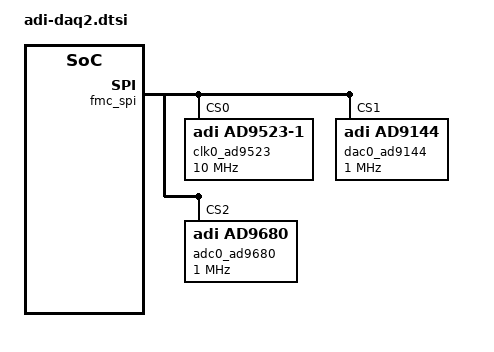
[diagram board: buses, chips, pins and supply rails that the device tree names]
/ {
	clocks {

	};
};

&fmc_spi {
	clk0_ad9523: ad9523-1@0 {
		#address-cells = <1>;
		#size-cells = <0>;
		#clock-cells = <1>;
		compatible = "adi,ad9523-1";
		reg = <0>;
		spi-cpol;
		spi-cpha;

		spi-max-frequency = <10000000>;
		clock-output-names = "ad9523-1_out0", "ad9523-1_out1", "ad9523-1_out2", "ad9523-1_out3", "ad9523-1_out4", "ad9523-1_out5", "ad9523-1_out6", "ad9523-1_out7", "ad9523-1_out8", "ad9523-1_out9", "ad9523-1_out10", "ad9523-1_out11", "ad9523-1_out12", "ad9523-1_out13";
		adi,vcxo-freq = <125000000>;
		adi,spi-3wire-enable;
		adi,pll1-bypass-enable;
		adi,osc-in-diff-enable;

		adi,pll2-charge-pump-current-nA = <413000>;
		adi,pll2-ndiv-a-cnt = <0>;
		adi,pll2-ndiv-b-cnt = <6>;

		adi,pll2-r2-div = <1>;
		adi,pll2-vco-diff-m1 = <3>;

		adi,rpole2 = <0>;
		adi,rzero = <7>;
		adi,cpole1 = <2>;

		ad9523_0_c1:channel@1 {
			reg = <1>;
			adi,extended-name = "DAC_CLK";
			adi,driver-mode = <3>;
			adi,divider-phase = <1>;
			adi,channel-divider = <1>;
//			adi,output-dis;
		};
		ad9523_0_c4:channel@4 {
			reg = <4>;
			adi,extended-name = "ADC_CLK_FMC";
			adi,driver-mode = <3>;
			adi,divider-phase = <1>;
			adi,channel-divider = <2>;
//			adi,output-dis;
		};

		ad9523_0_c5:channel@5 {
			reg = <5>;
			adi,extended-name = "ADC_SYSREF";
			adi,driver-mode = <3>;
			adi,divider-phase = <1>;
			adi,channel-divider = <128>;
//			adi,output-dis;
		};

		ad9523_0_c6:channel@6 {
			reg = <6>;
			adi,extended-name = "CLKD_ADC_SYSREF";
			adi,driver-mode = <3>;
			adi,divider-phase = <1>;
			adi,channel-divider = <128>;
//			adi,output-dis;
		};

		ad9523_0_c7:channel@7 {
			reg = <7>;
			adi,extended-name = "CLKD_DAC_SYSREF";
			adi,driver-mode = <3>;
			adi,divider-phase = <1>;
			adi,channel-divider = <128>;
//			adi,output-dis;
		};

		ad9523_0_c8:channel@8 {
			reg = <8>;
			adi,extended-name = "DAC_SYSREF";
			adi,driver-mode = <3>;
			adi,divider-phase = <1>;
			adi,channel-divider = <128>;
//			adi,output-dis;
		};

		ad9523_0_c9:channel@9 {
			reg = <9>;
			adi,extended-name = "FMC_DAC_REF_CLK";
			adi,driver-mode = <3>;
			adi,divider-phase = <1>;
			adi,channel-divider = <2>;
//			adi,output-dis;
		};

		ad9523_0_c13:channel@13 {
			reg = <13>;
			adi,extended-name = "ADC_CLK";
			adi,driver-mode = <3>;
			adi,divider-phase = <1>;
			adi,channel-divider = <1>;
//			adi,output-dis;
		};
	};

	dac0_ad9144: ad9144@1 {
		#address-cells = <1>;
		#size-cells = <0>;
		compatible = "adi,ad9144";
		reg = <1>;
		spi-cpol;
		spi-cpha;
		spi-max-frequency = <1000000>;
		clocks = <&axi_ad9144_jesd>, <&clk0_ad9523 1>, <&clk0_ad9523 8>;
		clock-names = "jesd_dac_clk", "dac_clk", "dac_sysref";

		adi,jesd-xbar-lane0-sel = <2>;
		adi,jesd-xbar-lane1-sel = <3>;
		adi,jesd-xbar-lane2-sel = <0>;
		adi,jesd-xbar-lane3-sel = <1>;
	};

	adc0_ad9680: ad9680@2 {
		#address-cells = <1>;
		#size-cells = <0>;
		compatible = "adi,ad9680";
		reg = <2>;
		spi-max-frequency = <1000000>;
		spi-cpol;
		spi-cpha;
		clocks = <&axi_ad9680_jesd>, <&clk0_ad9523 13>, <&clk0_ad9523 5>;
		clock-names = "jesd_adc_clk", "adc_clk", "adc_sysref";
	};
};

